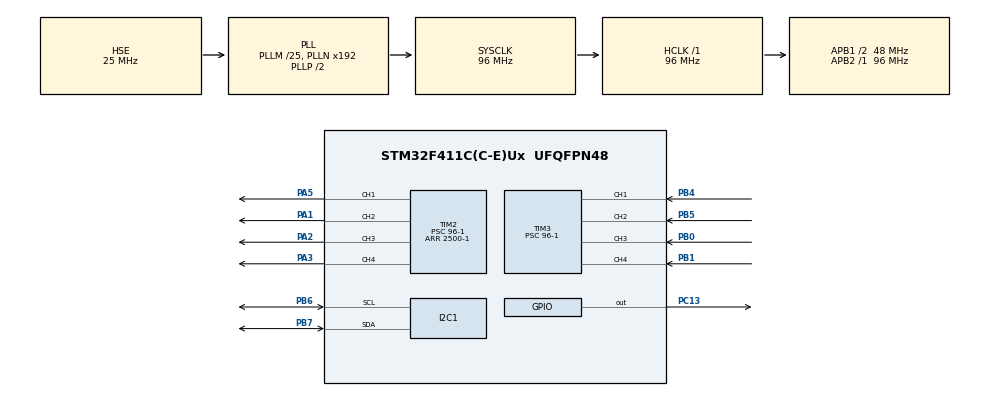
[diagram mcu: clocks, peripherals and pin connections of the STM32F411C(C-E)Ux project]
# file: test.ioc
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I2C1.I2C_Mode=I2C_Fast
Mcu.Family=STM32F4
Mcu.Name=STM32F411C(C-E)Ux
Mcu.Package=UFQFPN48
NVIC.PriorityGroup=NVIC_PRIORITYGROUP_4
NVIC.TIM3_IRQn=true\:0\:0\:false\:false\:true\:true\:true\:true
PA1.Signal=S_TIM2_CH2
PA2.Signal=S_TIM2_CH3
PA3.Signal=S_TIM2_CH4
PA5.Signal=S_TIM2_CH1_ETR
PB0.Signal=S_TIM3_CH3
PB1.Signal=S_TIM3_CH4
PB4.Signal=S_TIM3_CH1
PB5.Signal=S_TIM3_CH2
PB6.Mode=I2C
PB6.Signal=I2C1_SCL
PB7.Mode=I2C
PB7.Signal=I2C1_SDA
PC13-ANTI_TAMP.Signal=GPIO_Output
PH0\ -\ OSC_IN.Mode=HSE-External-Oscillator
PH0\ -\ OSC_IN.Signal=RCC_OSC_IN
PH1\ -\ OSC_OUT.Mode=HSE-External-Oscillator
PH1\ -\ OSC_OUT.Signal=RCC_OSC_OUT
ProjectManager.HeapSize=0x200
ProjectManager.StackSize=0x400
ProjectManager.TargetToolchain=STM32CubeIDE
RCC.48MHZClocksFreq_Value=48000000
RCC.AHBFreq_Value=96000000
RCC.APB1CLKDivider=RCC_HCLK_DIV2
RCC.APB1Freq_Value=48000000
RCC.APB1TimFreq_Value=96000000
RCC.APB2Freq_Value=96000000
RCC.APB2TimFreq_Value=96000000
RCC.CortexFreq_Value=96000000
RCC.HCLKFreq_Value=96000000
RCC.HSE_VALUE=25000000
RCC.HSI_VALUE=16000000
RCC.LSE_VALUE=32768
RCC.PLLM=25
RCC.PLLSourceVirtual=RCC_PLLSOURCE_HSE
RCC.SYSCLKFreq_VALUE=96000000
RCC.SYSCLKSource=RCC_SYSCLKSOURCE_PLLCLK
RCC.VCOOutputFreq_Value=192000000
SH.S_TIM2_CH1_ETR.0=TIM2_CH1,PWM Generation1 CH1
SH.S_TIM2_CH2.0=TIM2_CH2,PWM Generation2 CH2
SH.S_TIM2_CH3.0=TIM2_CH3,PWM Generation3 CH3
SH.S_TIM2_CH4.0=TIM2_CH4,PWM Generation4 CH4
SH.S_TIM3_CH1.0=TIM3_CH1,Input_Capture1_from_TI1
SH.S_TIM3_CH2.0=TIM3_CH2,Input_Capture2_from_TI2
SH.S_TIM3_CH3.0=TIM3_CH3,Input_Capture3_from_TI3
SH.S_TIM3_CH4.0=TIM3_CH4,Input_Capture4_from_TI4
TIM2.AutoReloadPreload=TIM_AUTORELOAD_PRELOAD_ENABLE
TIM2.Channel-PWM\ Generation1\ CH1=TIM_CHANNEL_1
TIM2.Channel-PWM\ Generation2\ CH2=TIM_CHANNEL_2
TIM2.Channel-PWM\ Generation3\ CH3=TIM_CHANNEL_3
TIM2.Channel-PWM\ Generation4\ CH4=TIM_CHANNEL_4
TIM2.Period=2500-1
TIM2.Prescaler=96-1
TIM2.Pulse-PWM\ Generation1\ CH1=1000
TIM2.Pulse-PWM\ Generation2\ CH2=1000
TIM2.Pulse-PWM\ Generation3\ CH3=1000
TIM2.Pulse-PWM\ Generation4\ CH4=1000
TIM3.Channel-Input_Capture1_from_TI1=TIM_CHANNEL_1
TIM3.Channel-Input_Capture2_from_TI2=TIM_CHANNEL_2
TIM3.Channel-Input_Capture3_from_TI3=TIM_CHANNEL_3
TIM3.Channel-Input_Capture4_from_TI4=TIM_CHANNEL_4
TIM3.ICPolarity_CH1=TIM_INPUTCHANNELPOLARITY_BOTHEDGE
TIM3.ICPolarity_CH2=TIM_INPUTCHANNELPOLARITY_BOTHEDGE
TIM3.ICPolarity_CH3=TIM_INPUTCHANNELPOLARITY_BOTHEDGE
TIM3.ICPolarity_CH4=TIM_INPUTCHANNELPOLARITY_BOTHEDGE
TIM3.Prescaler=96-1
VP_TIM2_VS_ClockSourceINT.Mode=Internal
VP_TIM3_VS_ClockSourceINT.Mode=Internal
board=custom

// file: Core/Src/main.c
#include "main.h"

/* USER CODE BEGIN Includes */
#include "mpu6050.h"
#include "imu.h"
#include "pid.h"
#include "utils.h"

uint32_t iteration_timer;
uint16_t esc[4];
uint8_t start;
extern __IO uint32_t usPulse[4];

IMU imu;
MPU6050 mpu;
PID_Controller pid;
/* USER CODE END Includes */

I2C_HandleTypeDef hi2c1;

TIM_HandleTypeDef htim2;
TIM_HandleTypeDef htim3;

void SystemClock_Config(void);
static void MX_GPIO_Init(void);
static void MX_I2C1_Init(void);
static void MX_TIM2_Init(void);
static void MX_TIM3_Init(void);

int main(void) {

	HAL_Init();
	SystemClock_Config();
	MX_GPIO_Init();
	MX_I2C1_Init();
	MX_TIM2_Init();
	MX_TIM3_Init();

	/* USER CODE BEGIN 2 */
	HAL_TIM_PWM_Start(&htim2, TIM_CHANNEL_1);
	HAL_TIM_PWM_Start(&htim2, TIM_CHANNEL_2);
	HAL_TIM_PWM_Start(&htim2, TIM_CHANNEL_3);
	HAL_TIM_PWM_Start(&htim2, TIM_CHANNEL_4);

	HAL_TIM_IC_Start_IT(&htim3, TIM_CHANNEL_1);
	HAL_TIM_IC_Start_IT(&htim3, TIM_CHANNEL_2);
	HAL_TIM_IC_Start_IT(&htim3, TIM_CHANNEL_3);
	HAL_TIM_IC_Start_IT(&htim3, TIM_CHANNEL_4);

	mpu6050_init(&hi2c1);
	mpu6050_calibrate(&mpu, &hi2c1);

	while (usPulse[0] < 990 || usPulse[0] > 2100
			|| usPulse[1] < 990 || usPulse[1] > 2100
			|| usPulse[3] < 990 || usPulse[3] > 2100
			|| usPulse[2] < 990 || usPulse[2] > 1050){
		HAL_Delay(200);
		HAL_GPIO_TogglePin(GPIOC, GPIO_PIN_13);
	}
	HAL_GPIO_WritePin(GPIOC, GPIO_PIN_13, !GPIO_PIN_SET);
	/* USER CODE END 2 */

	while (1) {
		/* USER CODE BEGIN 3 */
		if (micros() - iteration_timer >= 4000) {
			iteration_timer = micros();

			if (usPulse[0] < 990 || usPulse[0] > 2100
				    || usPulse[1] < 990 || usPulse[1] > 2100
					|| usPulse[2] < 990 || usPulse[2] > 2100
					|| usPulse[3] < 990 || usPulse[3] > 2100) {
				HAL_GPIO_WritePin(GPIOC, GPIO_PIN_13, 0);
				start = 0;
			}
			if (start != 2 && usPulse[2] < 1050 && usPulse[3] < 1050) start = 1;
			if (start == 1 && usPulse[2] > 1050) start = 0;
			if (start == 1 && usPulse[2] < 1050 && usPulse[3] > 1450) {
				HAL_GPIO_WritePin(GPIOC, GPIO_PIN_13, 1);
				start = 2;
				imu.angle_roll = imu.acc.roll;
				imu.angle_pitch = imu.acc.pitch;
				flush_pid();
			}
			if (start == 2 && usPulse[2] < 1050 && usPulse[3] > 1950) {
				HAL_GPIO_WritePin(GPIOC, GPIO_PIN_13, 0);
				start = 0;
			}

			mpu6050_signals(&mpu, &hi2c1);
			mpu6050_correct_direction(&mpu);
			calculate_rotational_rate(&imu, mpu.gyro.x, mpu.gyro.y, mpu.gyro.z);
			calculate_acc_angle(&imu, mpu.acc.x, mpu.acc.y, mpu.acc.z);
			calculate_angle(&imu, mpu.gyro.x, mpu.gyro.y, mpu.gyro.z);

			pid.setpoint.roll = 0;
			if (usPulse[0] > 1508) pid.setpoint.roll = usPulse[0] - 1508;
			else if (usPulse[0] < 1492) pid.setpoint.roll = usPulse[0] - 1492;
			pid.setpoint.roll -= imu.angle_roll * 18;
			pid.setpoint.roll /= 3.0;

			pid.setpoint.pitch = 0;
			if (usPulse[1] > 1508) pid.setpoint.pitch = usPulse[1] - 1508;
			else if (usPulse[1] < 1492) pid.setpoint.pitch = usPulse[1] - 1492;
			pid.setpoint.pitch -= imu.angle_pitch * 18;
			pid.setpoint.pitch /= 3.0;

			pid.setpoint.yaw = 0;
			if (usPulse[2] > 1050) {
				if (usPulse[3] > 1508) pid.setpoint.yaw = (usPulse[3] - 1508) / 3.0;
				else if (usPulse[3] < 1492) pid.setpoint.yaw = (usPulse[3] - 1492) / 3.0;
			}

			calculate_pid(&pid, imu.rate.roll, imu.rate.pitch, imu.rate.yaw);

			uint16_t throttle = usPulse[2];

			if (start == 2) {
				clamp(&throttle, 1000, 1800);

				esc[0] = throttle + pid.output.roll - pid.output.pitch - pid.output.yaw;
				esc[1] = throttle + pid.output.roll + pid.output.pitch + pid.output.yaw;
				esc[2] = throttle - pid.output.roll + pid.output.pitch - pid.output.yaw;
				esc[3] = throttle - pid.output.roll - pid.output.pitch + pid.output.yaw;

				clamp(&esc[0], 1170, 2000);
				clamp(&esc[1], 1170, 2000);
				clamp(&esc[2], 1170, 2000);
				clamp(&esc[3], 1170, 2000);
			} else
				esc[0] = esc[1] = esc[2] = esc[3] = 1000;

			TIM2->CCR1 = esc[0];
			TIM2->CCR2 = esc[1];
			TIM2->CCR3 = esc[2];
			TIM2->CCR4 = esc[3];
		}
	}
	/* USER CODE END 3 */
}

void SystemClock_Config(void) {
	RCC_OscInitTypeDef RCC_OscInitStruct = { 0 };
	RCC_ClkInitTypeDef RCC_ClkInitStruct = { 0 };

	__HAL_RCC_PWR_CLK_ENABLE();
	__HAL_PWR_VOLTAGESCALING_CONFIG(PWR_REGULATOR_VOLTAGE_SCALE1);

	RCC_OscInitStruct.OscillatorType = RCC_OSCILLATORTYPE_HSE;
	RCC_OscInitStruct.HSEState = RCC_HSE_ON;
	RCC_OscInitStruct.PLL.PLLState = RCC_PLL_ON;
	RCC_OscInitStruct.PLL.PLLSource = RCC_PLLSOURCE_HSE;
	RCC_OscInitStruct.PLL.PLLM = 25;
	RCC_OscInitStruct.PLL.PLLN = 192;
	RCC_OscInitStruct.PLL.PLLP = RCC_PLLP_DIV2;
	RCC_OscInitStruct.PLL.PLLQ = 4;
	if (HAL_RCC_OscConfig(&RCC_OscInitStruct) != HAL_OK) {
		Error_Handler();
	}
	RCC_ClkInitStruct.ClockType = RCC_CLOCKTYPE_HCLK | RCC_CLOCKTYPE_SYSCLK | RCC_CLOCKTYPE_PCLK1 | RCC_CLOCKTYPE_PCLK2;
	RCC_ClkInitStruct.SYSCLKSource = RCC_SYSCLKSOURCE_PLLCLK;
	RCC_ClkInitStruct.AHBCLKDivider = RCC_SYSCLK_DIV1;
	RCC_ClkInitStruct.APB1CLKDivider = RCC_HCLK_DIV2;
	RCC_ClkInitStruct.APB2CLKDivider = RCC_HCLK_DIV1;

	if (HAL_RCC_ClockConfig(&RCC_ClkInitStruct, FLASH_LATENCY_3) != HAL_OK) {
		Error_Handler();
	}
}

static void MX_I2C1_Init(void) {

	hi2c1.Instance = I2C1;
	hi2c1.Init.ClockSpeed = 400000;
	hi2c1.Init.DutyCycle = I2C_DUTYCYCLE_2;
	hi2c1.Init.OwnAddress1 = 0;
	hi2c1.Init.AddressingMode = I2C_ADDRESSINGMODE_7BIT;
	hi2c1.Init.DualAddressMode = I2C_DUALADDRESS_DISABLE;
	hi2c1.Init.OwnAddress2 = 0;
	hi2c1.Init.GeneralCallMode = I2C_GENERALCALL_DISABLE;
	hi2c1.Init.NoStretchMode = I2C_NOSTRETCH_DISABLE;
	if (HAL_I2C_Init(&hi2c1) != HAL_OK) {
		Error_Handler();
	}
}

static void MX_TIM2_Init(void) {

	TIM_ClockConfigTypeDef sClockSourceConfig = { 0 };
	TIM_MasterConfigTypeDef sMasterConfig = { 0 };
	TIM_OC_InitTypeDef sConfigOC = { 0 };

	htim2.Instance = TIM2;
	htim2.Init.Prescaler = 96 - 1;
	htim2.Init.CounterMode = TIM_COUNTERMODE_UP;
	htim2.Init.Period = 2500 - 1;
	htim2.Init.ClockDivision = TIM_CLOCKDIVISION_DIV1;
	htim2.Init.AutoReloadPreload = TIM_AUTORELOAD_PRELOAD_ENABLE;
	if (HAL_TIM_Base_Init(&htim2) != HAL_OK) {
		Error_Handler();
	}
	sClockSourceConfig.ClockSource = TIM_CLOCKSOURCE_INTERNAL;
	if (HAL_TIM_ConfigClockSource(&htim2, &sClockSourceConfig) != HAL_OK) {
		Error_Handler();
	}
	if (HAL_TIM_PWM_Init(&htim2) != HAL_OK) {
		Error_Handler();
	}
	sMasterConfig.MasterOutputTrigger = TIM_TRGO_RESET;
	sMasterConfig.MasterSlaveMode = TIM_MASTERSLAVEMODE_DISABLE;
	if (HAL_TIMEx_MasterConfigSynchronization(&htim2, &sMasterConfig) != HAL_OK) {
		Error_Handler();
	}
	sConfigOC.OCMode = TIM_OCMODE_PWM1;
	sConfigOC.Pulse = 1000;
	sConfigOC.OCPolarity = TIM_OCPOLARITY_HIGH;
	sConfigOC.OCFastMode = TIM_OCFAST_DISABLE;
	if (HAL_TIM_PWM_ConfigChannel(&htim2, &sConfigOC, TIM_CHANNEL_1) != HAL_OK) Error_Handler();
	if (HAL_TIM_PWM_ConfigChannel(&htim2, &sConfigOC, TIM_CHANNEL_2) != HAL_OK) Error_Handler();
	if (HAL_TIM_PWM_ConfigChannel(&htim2, &sConfigOC, TIM_CHANNEL_3) != HAL_OK) Error_Handler();
	if (HAL_TIM_PWM_ConfigChannel(&htim2, &sConfigOC, TIM_CHANNEL_4) != HAL_OK) Error_Handler();
	HAL_TIM_MspPostInit(&htim2);
}

static void MX_TIM3_Init(void) {

	TIM_ClockConfigTypeDef sClockSourceConfig = { 0 };
	TIM_MasterConfigTypeDef sMasterConfig = { 0 };
	TIM_IC_InitTypeDef sConfigIC = { 0 };

	htim3.Instance = TIM3;
	htim3.Init.Prescaler = 96 - 1;
	htim3.Init.CounterMode = TIM_COUNTERMODE_UP;
	htim3.Init.Period = 65535;
	htim3.Init.ClockDivision = TIM_CLOCKDIVISION_DIV1;
	htim3.Init.AutoReloadPreload = TIM_AUTORELOAD_PRELOAD_DISABLE;
	if (HAL_TIM_Base_Init(&htim3) != HAL_OK) {
		Error_Handler();
	}
	sClockSourceConfig.ClockSource = TIM_CLOCKSOURCE_INTERNAL;
	if (HAL_TIM_ConfigClockSource(&htim3, &sClockSourceConfig) != HAL_OK) {
		Error_Handler();
	}
	if (HAL_TIM_IC_Init(&htim3) != HAL_OK) {
		Error_Handler();
	}
	sMasterConfig.MasterOutputTrigger = TIM_TRGO_RESET;
	sMasterConfig.MasterSlaveMode = TIM_MASTERSLAVEMODE_DISABLE;
	if (HAL_TIMEx_MasterConfigSynchronization(&htim3, &sMasterConfig)
			!= HAL_OK) {
		Error_Handler();
	}
	sConfigIC.ICPolarity = TIM_INPUTCHANNELPOLARITY_BOTHEDGE;
	sConfigIC.ICSelection = TIM_ICSELECTION_DIRECTTI;
	sConfigIC.ICPrescaler = TIM_ICPSC_DIV1;
	sConfigIC.ICFilter = 0;
	if (HAL_TIM_IC_ConfigChannel(&htim3, &sConfigIC, TIM_CHANNEL_1) != HAL_OK) {
		Error_Handler();
	}
	if (HAL_TIM_IC_ConfigChannel(&htim3, &sConfigIC, TIM_CHANNEL_2) != HAL_OK) {
		Error_Handler();
	}
	if (HAL_TIM_IC_ConfigChannel(&htim3, &sConfigIC, TIM_CHANNEL_3) != HAL_OK) {
		Error_Handler();
	}
	if (HAL_TIM_IC_ConfigChannel(&htim3, &sConfigIC, TIM_CHANNEL_4) != HAL_OK) {
		Error_Handler();
	}
}

static void MX_GPIO_Init(void) {
	GPIO_InitTypeDef GPIO_InitStruct = { 0 };

	__HAL_RCC_GPIOC_CLK_ENABLE();
	__HAL_RCC_GPIOH_CLK_ENABLE();
	__HAL_RCC_GPIOA_CLK_ENABLE();
	__HAL_RCC_GPIOB_CLK_ENABLE();

	HAL_GPIO_WritePin(GPIOC, GPIO_PIN_13, !GPIO_PIN_RESET);

	GPIO_InitStruct.Pin = GPIO_PIN_13;
	GPIO_InitStruct.Mode = GPIO_MODE_OUTPUT_PP;
	GPIO_InitStruct.Pull = GPIO_NOPULL;
	GPIO_InitStruct.Speed = GPIO_SPEED_FREQ_LOW;
	HAL_GPIO_Init(GPIOC, &GPIO_InitStruct);
}

void Error_Handler(void) {
	__disable_irq();
	while (1) {}
}
